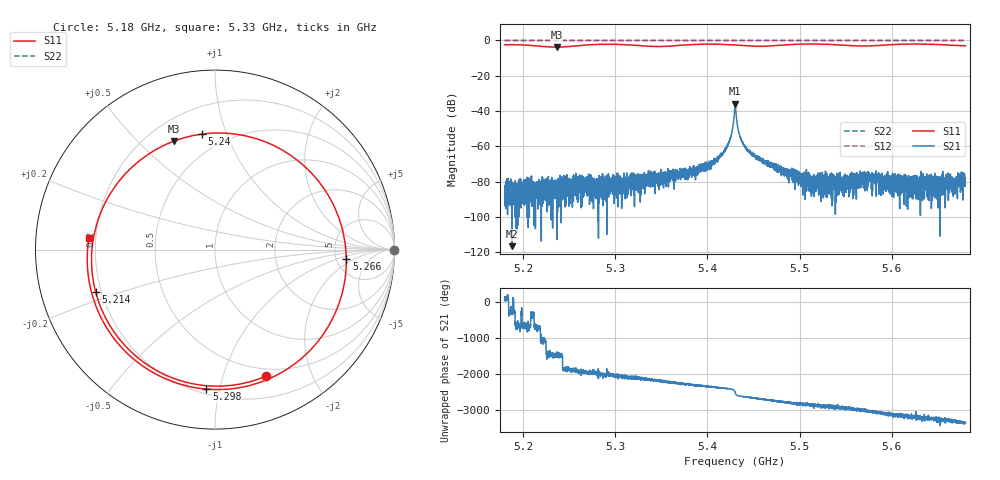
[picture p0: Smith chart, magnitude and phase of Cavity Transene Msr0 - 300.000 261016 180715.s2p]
# HZ S DB R 50
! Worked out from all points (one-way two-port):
!   5000 points, 5.18 GHz to 5.68 GHz, reference 50 ohm
!   highest |S21| = -35.89 dB at 5.43 GHz (marker M1); lowest = -116.7 dB at 5.188 GHz (marker M2)
!   lowest |S11| = -3.8 dB at 5.236 GHz (marker M3), VSWR 4.65, Z = 15.5 + j32.2 ohm
!   |S11| at or under -10 dB: nowhere
!   |S22| runs from 0.0 to 0.0 dB; largest |S21 - S12| = 1
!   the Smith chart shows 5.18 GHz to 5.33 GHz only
!   S11 on the Smith chart (normalised r, x): 5.18 GHz: 0.42, -1.40; 5.214 GHz: 0.18, -0.17; 5.24 GHz: 0.37, +0.82; 5.266 GHz: 6.19, -1.38; 5.298 GHz: 0.23, -0.91; 5.33 GHz: 0.17, +0.05
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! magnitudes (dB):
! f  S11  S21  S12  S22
! 5.18 GHz  -2.4  -89.5  0.0  0.0
! 5.188 GHz  -2.4  -116.7  0.0  0.0
! 5.214 GHz  -3.0  -89.3  0.0  0.0
! 5.236 GHz  -3.8  -83.1  0.0  0.0
! 5.24 GHz  -3.8  -83.0  0.0  0.0
! 5.263 GHz  -2.8  -81.7  0.0  0.0
! 5.266 GHz  -2.7  -82.5  0.0  0.0
! 5.298 GHz  -2.2  -81.5  0.0  0.0
! 5.33 GHz  -3.0  -80.0  0.0  0.0
! 5.347 GHz  -3.5  -78.9  0.0  0.0
! 5.388 GHz  -2.2  -73.9  0.0  0.0
! 5.41 GHz  -2.1  -68.4  0.0  0.0
! 5.423 GHz  -2.4  -58.2  0.0  0.0
! 5.43 GHz  -2.6  -36.3  0.0  0.0
! 5.43 GHz  -2.6  -35.9  0.0  0.0
! 5.432 GHz  -2.6  -44.7  0.0  0.0
! 5.437 GHz  -2.8  -56.7  0.0  0.0
! 5.448 GHz  -3.2  -64.1  0.0  0.0
! 5.486 GHz  -2.5  -74.7  0.0  0.0
! 5.513 GHz  -2.0  -84.1  0.0  0.0
! 5.597 GHz  -2.5  -78.5  0.0  0.0
! 5.68 GHz  -3.1  -78.2  0.0  0.0
